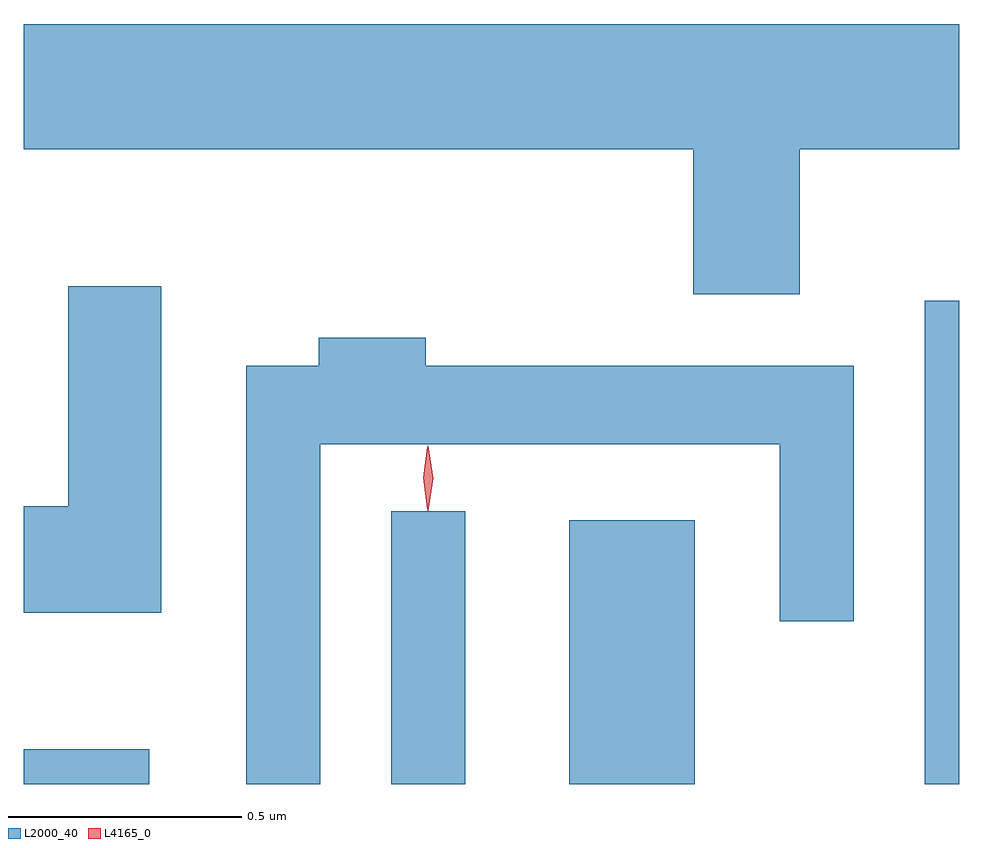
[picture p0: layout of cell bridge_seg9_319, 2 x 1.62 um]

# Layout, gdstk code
import gdstk
lib = gdstk.Library(unit=1e-6, precision=1e-09)
def R(c, l, rs):  # rectangles x0, y0, x1, y1
    for r in rs: c.add(gdstk.rectangle(r[:2], r[2:], *l))
def P(c, l, *ps):  # polygons
    for p in ps: c.add(gdstk.Polygon(p, *l))
L2000_40 = (2000, 40)
L4165_0 = (4165, 0)

bridge_seg9_319 = lib.new_cell('bridge_seg9_319')
R(bridge_seg9_319, L2000_40, [(1017.36,2074.82,1017.629,2074.894), (1018.146,2074.82,1018.304,2075.403), (1018.526,2074.82,1018.794,2075.384), (1019.286,2074.82,1019.36,2075.853)])
P(bridge_seg9_319, L2000_40, [(1019.019,2076.176),(1019.36,2076.176),(1019.36,2076.444),(1017.36,2076.444),(1017.36,2076.176),(1018.791,2076.176),(1018.791,2075.866),(1019.019,2075.866)],
  [(1017.654,2075.884),(1017.456,2075.884),(1017.456,2075.414),(1017.36,2075.414),(1017.36,2075.186),(1017.654,2075.186)],
  [(1017.994,2075.546),(1018.976,2075.546),(1018.976,2075.168),(1019.134,2075.168),(1019.134,2075.714),(1018.219,2075.714),(1018.219,2075.774),(1017.991,2075.774),(1017.991,2075.714),(1017.836,2075.714),(1017.836,2074.82),(1017.994,2074.82)])
P(bridge_seg9_319, L4165_0, [(1018.224,2075.404),(1018.215,2075.473),(1018.224,2075.543),(1018.225,2075.543),(1018.225,2075.543),(1018.235,2075.473),(1018.225,2075.404),(1018.225,2075.404)],
  [(1018.224,2075.407),(1018.223,2075.408),(1018.214,2075.474),(1018.223,2075.54),(1018.224,2075.541),(1018.224,2075.54),(1018.234,2075.474),(1018.224,2075.408)])

lib.write_gds('bridge_seg9_319.gds')
